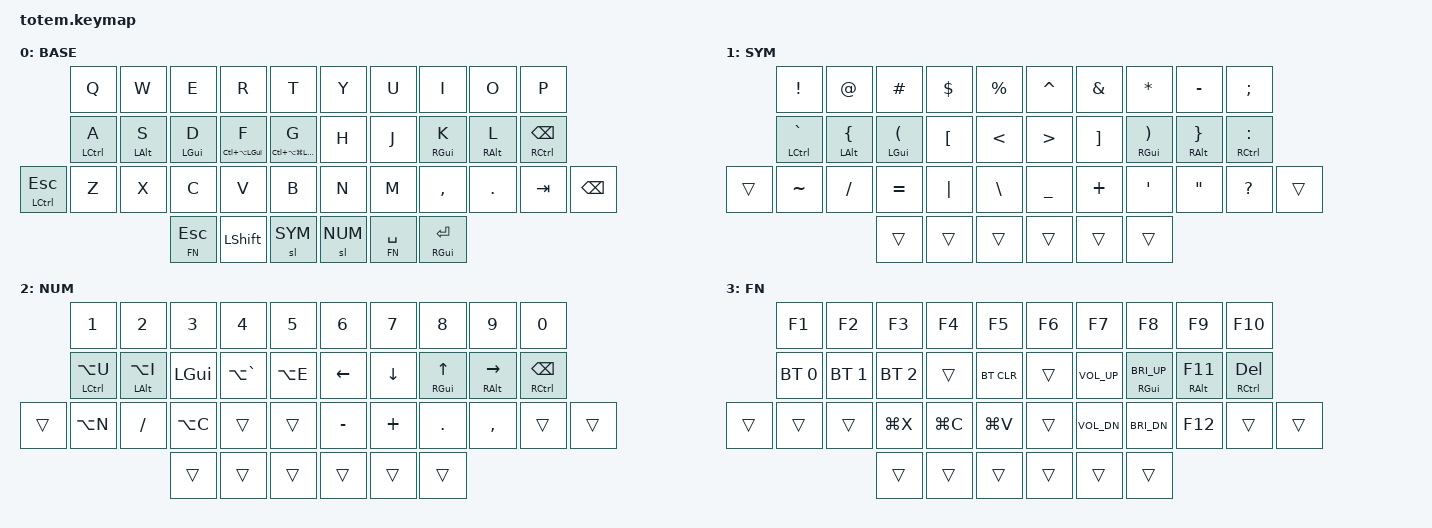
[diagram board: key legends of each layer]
// TOTEM keymap

#include <behaviors.dtsi>
#include <dt-bindings/zmk/keys.h>
#include <dt-bindings/zmk/bt.h>
#include <dt-bindings/zmk/outputs.h>

#define BASE 0
#define SYM  1
#define NUM  2
#define FN   3

&mt {
  flavor = "tap-preferred";
  tapping-term-ms = <200>;
};
 
&sl {
    release-after-ms = <1000>;
};

#define MEH LC(LA(LGUI))
#define HYPR LC(LA(LG(LSHIFT)))


/ {
        keymap {
                compatible = "zmk,keymap";

                // -------------- BASE LAYER --------------
                base_layer {
                    label= "BASE";
                    bindings = <
                  &kp Q       &kp W       &kp E       &kp R       &kp T           &kp Y       &kp U        &kp I       &kp O       &kp P
                  &mt LCTRL A &mt LALT S  &mt LGUI D  &mt MEH F   &mt HYPR G      &kp H       &kp J        &mt RGUI K  &mt RALT L  &mt RCTRL BSPC
    &mt LCTRL ESC &kp Z       &kp X       &kp C       &kp V       &kp B           &kp N       &kp M        &kp COMMA   &kp DOT     &kp TAB         &kp BSPC
                                          &lt FN ESC  &kp LSHIFT  &sl SYM         &sl NUM     &lt FN SPACE &mt RGUI RET
                    >;
                };

                // -------------- SYM LAYER --------------
                sym_layer {
                    label= "SYM";
                    bindings = <
                  &kp EXCL        &kp AT          &kp HASH        &kp DLLR    &kp PRCNT       &kp CARET   &kp AMPS    &kp ASTRK       &kp MINUS       &kp SEMI
                  &mt LCTRL GRAVE &mt LALT LBRC   &mt LGUI LPAR   &kp LBKT    &kp LT          &kp GT      &kp RBKT    &mt RGUI RPAR   &mt RALT RBRC   &mt RCTRL COLON
    &trans        &kp TILDE       &kp SLASH       &kp EQUAL       &kp PIPE    &kp BSLH        &kp UNDER   &kp PLUS    &kp APOS        &kp DQT         &kp QMARK       &trans      
                                                  &trans          &trans      &trans          &trans      &trans      &trans      
                    >;
                };

                // -------------- NUM LAYER --------------
                num_layer {
                    label= "NUM";
                    bindings = <
                  &kp N1          &kp N2         &kp N3      &kp N4        &kp N5          &kp N6      &kp N7      &kp N8      &kp N9         &kp N0       
                  &mt LCTRL LA(U) &mt LALT LA(I) &kp LGUI    &kp LA(GRAVE) &kp LA(E)       &kp LEFT    &kp DOWN    &mt RGUI UP &mt RALT RIGHT &mt RCTRL BSPC 
    &trans        &kp LA(N)       &kp SLASH      &kp LA(C)   &trans        &trans          &kp MINUS   &kp PLUS    &kp DOT     &kp COMMA         &trans          &trans         
                                                 &trans      &trans        &trans          &trans      &trans      &trans      
                    >;
                };


                // -------------- FN LAYER --------------
                function_layer {
                    label= "FN";
                    bindings = <
                  &kp F1        &kp F2        &kp F3        &kp F4      &kp F5          &kp F6      &kp F7       &kp F8            &kp F9       &kp F10
                  &bt BT_SEL 0  &bt BT_SEL 1  &bt BT_SEL 2  &trans      &bt BT_CLR      &trans      &kp C_VOL_UP &mt RGUI C_BRI_UP &mt RALT F11 &mt RCTRL DEL  
    &trans        &trans        &trans        &kp LG(X)     &kp LG(C)   &kp LG(V)       &trans      &kp C_VOL_DN &kp C_BRI_DN      &kp F12      &trans        &trans         
                                              &trans        &trans      &trans          &trans      &trans       &trans      
                    >;
                };
        };
};
